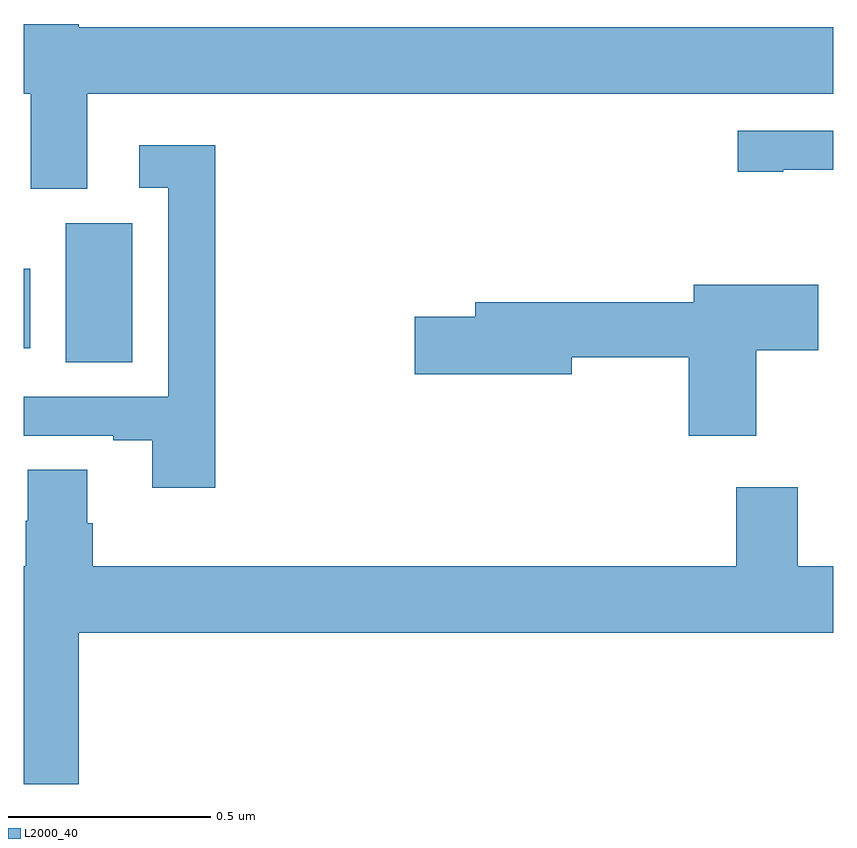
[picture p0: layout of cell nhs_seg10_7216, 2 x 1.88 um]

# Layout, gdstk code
import gdstk
lib = gdstk.Library(unit=1e-6, precision=1e-09)
def R(c, l, rs):  # rectangles x0, y0, x1, y1
    for r in rs: c.add(gdstk.rectangle(r[:2], r[2:], *l))
def P(c, l, *ps):  # polygons
    for p in ps: c.add(gdstk.Polygon(p, *l))
L2000_40 = (2000, 40)

nhs_seg10_7216 = lib.new_cell('nhs_seg10_7216')
R(nhs_seg10_7216, L2000_40, [(201.104,1287.664,201.268,1288.008), (201,1287.699,201.016,1287.895)])
P(nhs_seg10_7216, L2000_40, [(201.157,1288.328),(203,1288.328),(203,1288.492),(201.136,1288.492),(201.136,1288.5),(201,1288.5),(201,1288.328),(201.017,1288.328),(201.017,1288.093),(201.157,1288.093)],
  [(202.876,1288.14),(203,1288.14),(203,1288.236),(202.764,1288.236),(202.764,1288.135),(202.876,1288.135)],
  [(201.473,1288.201),(201.285,1288.201),(201.285,1288.095),(201.357,1288.095),(201.357,1287.579),(201,1287.579),(201,1287.483),(201.221,1287.483),(201.221,1287.471),(201.317,1287.471),(201.317,1287.354),(201.473,1287.354)],
  [(202.81,1287.694),(202.963,1287.694),(202.963,1287.856),(202.655,1287.856),(202.655,1287.812),(202.115,1287.812),(202.115,1287.776),(201.966,1287.776),(201.966,1287.634),(202.354,1287.634),(202.354,1287.676),(202.643,1287.676),(202.643,1287.483),(202.81,1287.483)],
  [(201.136,1286.996),(203,1286.996),(203,1287.16),(202.912,1287.16),(202.912,1287.355),(202.76,1287.355),(202.76,1287.16),(201.17,1287.16),(201.17,1287.266),(201.157,1287.266),(201.157,1287.398),(201.01,1287.398),(201.01,1287.273),(201.005,1287.273),(201.005,1287.16),(201,1287.16),(201,1286.622),(201.136,1286.622)])

lib.write_gds('nhs_seg10_7216.gds')
